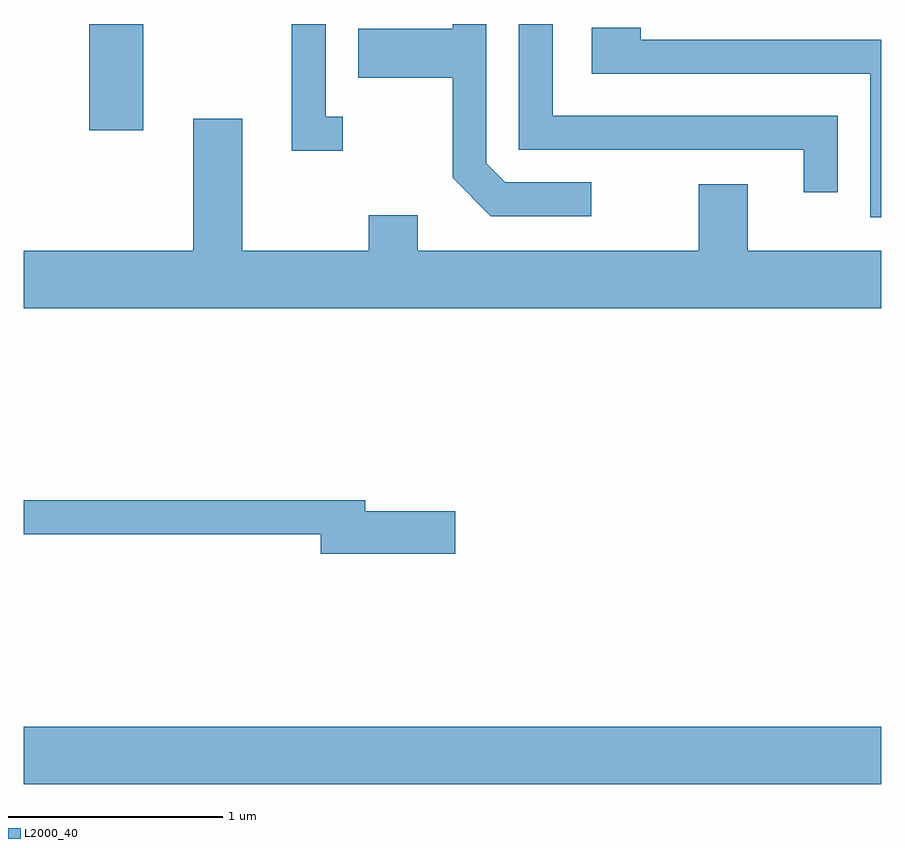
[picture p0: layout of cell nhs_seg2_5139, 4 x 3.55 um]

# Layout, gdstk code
import gdstk
lib = gdstk.Library(unit=1e-6, precision=1e-09)
def R(c, l, rs):  # rectangles x0, y0, x1, y1
    for r in rs: c.add(gdstk.rectangle(r[:2], r[2:], *l))
def P(c, l, *ps):  # polygons
    for p in ps: c.add(gdstk.Polygon(p, *l))
L2000_40 = (2000, 40)

nhs_seg2_5139 = lib.new_cell('nhs_seg2_5139')
R(nhs_seg2_5139, L2000_40, [(335.611,1108.256,339.611,1108.524), (335.916,1111.306,336.169,1111.802)])
P(nhs_seg2_5139, L2000_40, [(337.098,1111.369),(337.019,1111.369),(337.019,1111.802),(336.861,1111.802),(336.861,1111.211),(337.098,1111.211)],
  [(339.409,1111.374),(338.079,1111.374),(338.079,1111.802),(337.921,1111.802),(337.921,1111.216),(339.251,1111.216),(339.251,1111.018),(339.409,1111.018)],
  [(338.258,1111.064),(337.857,1111.064),(337.769,1111.152),(337.769,1111.802),(337.611,1111.802),(337.611,1111.779),(337.171,1111.779),(337.171,1111.551),(337.611,1111.551),(337.611,1111.084),(337.789,1110.906),(338.258,1110.906)],
  [(339.611,1111.729),(338.489,1111.729),(338.489,1111.784),(338.261,1111.784),(338.261,1111.571),(339.561,1111.571),(339.561,1110.901),(339.611,1110.901)],
  [(339.611,1110.744),(338.989,1110.744),(338.989,1111.054),(338.761,1111.054),(338.761,1110.744),(337.449,1110.744),(337.449,1110.909),(337.221,1110.909),(337.221,1110.744),(336.629,1110.744),(336.629,1111.359),(336.401,1111.359),(336.401,1110.744),(335.611,1110.744),(335.611,1110.476),(339.611,1110.476)],
  [(337.624,1109.529),(337.204,1109.529),(337.204,1109.579),(335.611,1109.579),(335.611,1109.421),(336.996,1109.421),(336.996,1109.331),(337.624,1109.331)])

lib.write_gds('nhs_seg2_5139.gds')
